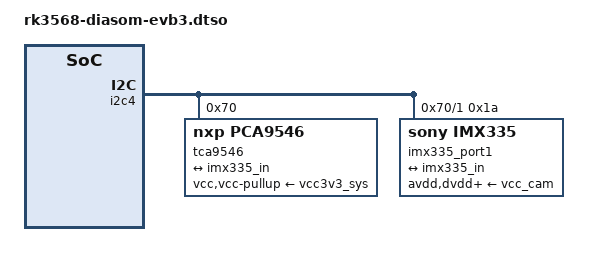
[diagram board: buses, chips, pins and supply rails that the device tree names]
/* SPDX-License-Identifier: GPL-2.0+ */
/* SPDX-FileCopyrightText: Alexander Shiyan <shc_work@mail.ru> */

/dts-v1/;
/plugin/;

#include <dt-bindings/pinctrl/rockchip.h>
#include <dt-bindings/power/rk3568-power.h>

&csi2_dphy0 {
	ports {
		#address-cells = <1>;
		#size-cells = <0>;

		port@0 {
			reg = <0>;
			#address-cells = <1>;
			#size-cells = <0>;

			imx335_in: endpoint@1 {
				reg = <1>;
				remote-endpoint = <&imx335_port1_out>;
				data-lanes = <1 2>;
			};
		};

		port@1 {
			reg = <1>;

			csi_out: endpoint {
				remote-endpoint = <&isp_in>;
				data-lanes = <1 2>;
			};
		};
	};
};

&i2c4 {

	tca9546: multiplex@70 {
		compatible = "nxp,pca9546";
		pinctrl-names = "default";
		reg = <0x70>;
		#address-cells = <1>;
		#size-cells = <0>;
		vcc-supply = <&vcc3v3_sys>;
		vcc-pullup-supply = <&vcc3v3_sys>;
		status = "okay";

		i2c@1 {
			reg = <1>;
			#address-cells = <1>;
			#size-cells = <0>;
			imx335_port1: camera@1a {
				compatible = "sony,imx335";
				reg = <0x1a>;
				clocks = <&xin24m>;
				power-domains = <&power RK3568_PD_VI>;
				avdd-supply = <&vcc_cam>;
				dvdd-supply = <&vcc_cam>;
				ovdd-supply = <&vcc_cam>;
				status = "okay";

				port {
					imx335_port1_out: endpoint {
						data-lanes = <1 2>;
						remote-endpoint = <&imx335_in>;
						link-frequencies = /bits/ 64 <594000000>;
					};
				};
			};
		};
	};
};
